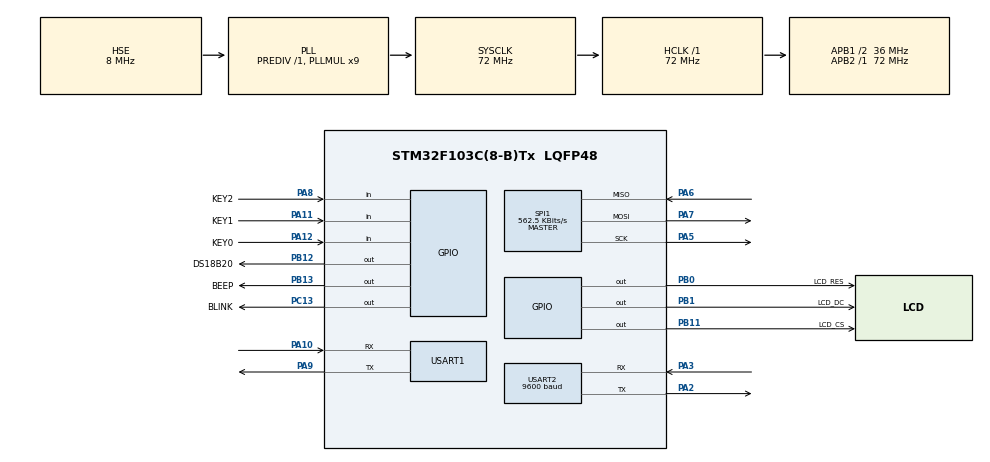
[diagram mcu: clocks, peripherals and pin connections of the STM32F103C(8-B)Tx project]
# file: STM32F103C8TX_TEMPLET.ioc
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Mcu.Family=STM32F1
Mcu.Name=STM32F103C(8-B)Tx
Mcu.Package=LQFP48
NVIC.PriorityGroup=NVIC_PRIORITYGROUP_4
NVIC.SPI1_IRQn=true\:0\:0\:false\:false\:true\:true\:true\:true
NVIC.TIM1_BRK_IRQn=true\:0\:0\:false\:false\:true\:true\:true\:true
NVIC.TIM1_CC_IRQn=true\:0\:0\:false\:false\:true\:true\:true\:true
NVIC.TIM1_TRG_COM_IRQn=true\:0\:0\:false\:false\:true\:true\:true\:true
NVIC.TIM1_UP_IRQn=true\:0\:0\:false\:false\:true\:true\:true\:true
NVIC.USART1_IRQn=true\:0\:0\:false\:false\:true\:true\:true\:true
NVIC.USART2_IRQn=true\:0\:0\:false\:false\:true\:true\:true\:true
PA10.Mode=Asynchronous
PA10.Signal=USART1_RX
PA11.GPIO_Label=KEY1
PA11.GPIO_PuPd=GPIO_PULLUP
PA11.Signal=GPIO_Input
PA12.GPIO_Label=KEY0
PA12.GPIO_PuPd=GPIO_PULLUP
PA12.Signal=GPIO_Input
PA13.Mode=Serial_Wire
PA13.Signal=SYS_JTMS-SWDIO
PA14.Mode=Serial_Wire
PA14.Signal=SYS_JTCK-SWCLK
PA2.Mode=Asynchronous
PA2.Signal=USART2_TX
PA3.Mode=Asynchronous
PA3.Signal=USART2_RX
PA5.Mode=Full_Duplex_Master
PA5.Signal=SPI1_SCK
PA6.Mode=Full_Duplex_Master
PA6.Signal=SPI1_MISO
PA7.Mode=Full_Duplex_Master
PA7.Signal=SPI1_MOSI
PA8.GPIO_Label=KEY2
PA8.GPIO_PuPd=GPIO_PULLUP
PA8.Signal=GPIO_Input
PA9.Mode=Asynchronous
PA9.Signal=USART1_TX
PB0.GPIO_Label=LCD_RES
PB0.Signal=GPIO_Output
PB1.GPIO_Label=LCD_DC
PB1.Signal=GPIO_Output
PB11.GPIO_Label=LCD_CS
PB11.Signal=GPIO_Output
PB12.GPIO_Label=DS18B20
PB12.Signal=GPIO_Output
PB13.GPIO_Label=BEEP
PB13.Signal=GPIO_Output
PC13-TAMPER-RTC.GPIO_Label=BLINK
PC13-TAMPER-RTC.Signal=GPIO_Output
PC14-OSC32_IN.Mode=LSE-External-Oscillator
PC14-OSC32_IN.Signal=RCC_OSC32_IN
PC15-OSC32_OUT.Mode=LSE-External-Oscillator
PC15-OSC32_OUT.Signal=RCC_OSC32_OUT
PD0-OSC_IN.Mode=HSE-External-Oscillator
PD0-OSC_IN.Signal=RCC_OSC_IN
PD1-OSC_OUT.Mode=HSE-External-Oscillator
PD1-OSC_OUT.Signal=RCC_OSC_OUT
ProjectManager.HeapSize=0x200
ProjectManager.StackSize=0x400
ProjectManager.TargetToolchain=MDK-ARM V5.27
RCC.ADCPresc=RCC_ADCPCLK2_DIV6
RCC.AHBFreq_Value=72000000
RCC.APB1CLKDivider=RCC_HCLK_DIV2
RCC.APB1Freq_Value=36000000
RCC.APB1TimFreq_Value=72000000
RCC.APB2Freq_Value=72000000
RCC.APB2TimFreq_Value=72000000
RCC.HCLKFreq_Value=72000000
RCC.PLLMUL=RCC_PLL_MUL9
RCC.PLLSourceVirtual=RCC_PLLSOURCE_HSE
RCC.SYSCLKFreq_VALUE=72000000
RCC.SYSCLKSource=RCC_SYSCLKSOURCE_PLLCLK
RCC.USBFreq_Value=72000000
SPI1.BaudRatePrescaler=SPI_BAUDRATEPRESCALER_128
SPI1.CalculateBaudRate=562.5 KBits/s
SPI1.Direction=SPI_DIRECTION_2LINES
SPI1.Mode=SPI_MODE_MASTER
SPI1.VirtualType=VM_MASTER
TIM1.AutoReloadPreload=TIM_AUTORELOAD_PRELOAD_ENABLE
TIM1.Period=1000-1
TIM1.Prescaler=72-1
USART1.VirtualMode=VM_ASYNC
USART2.BaudRate=9600
USART2.VirtualMode=VM_ASYNC
VP_TIM1_VS_ClockSourceINT.Mode=Internal
board=custom

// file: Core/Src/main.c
/* USER CODE BEGIN Header */
/**
  ******************************************************************************
  * @file           : main.c
  * @brief          : Main program body
  ******************************************************************************
  * @attention
  *
  * <h2><center>&copy; Copyright (c) 2022 STMicroelectronics.
  * All rights reserved.</center></h2>
  *
  * This software component is licensed by ST under BSD 3-Clause license,
  * the "License"; You may not use this file except in compliance with the
  * License. You may obtain a copy of the License at:
  *                        opensource.org/licenses/BSD-3-Clause
  *
  ******************************************************************************
  */
/* USER CODE END Header */
#include "main.h"
#include "spi.h"
#include "tim.h"
#include "usart.h"
#include "gpio.h"

/* USER CODE BEGIN Includes */
#include "lcd_display.h"

// #include "4_4KeyBoard.h"
#include "BPC.h"
#include "ds18b20.h"
//#include "simcom800.h"

/* USER CODE END Includes */

/* USER CODE BEGIN PM */

// static uint8_t min = 0;
// static uint8_t hour = 0;
/* USER CODE END PM */

void SystemClock_Config(void);

/* USER CODE BEGIN 0 */

void key_scan();
void uart2_data_analyze();
void uart2_send_data(uint8_t num);
void alarm_server();
/* USER CODE END 0 */

int main(void)
{
  /* USER CODE BEGIN 1 */
  int8_t ret = -1;
  uint16_t system_tick = 0;
	uint32_t i = 0;
  /* USER CODE END 1 */

  /* MCU Configuration--------------------------------------------------------*/

  /* Reset of all peripherals, Initializes the Flash interface and the Systick. */
  HAL_Init();

  /* Configure the system clock */
  SystemClock_Config();

  /* Initialize all configured peripherals */
  MX_GPIO_Init();
  MX_USART1_UART_Init();
  MX_USART2_UART_Init();
  MX_SPI1_Init();
  MX_TIM1_Init();
  /* USER CODE BEGIN 2 */
	DS18B20_Init();         //温度传感器初始化

	BPC_GPIO_INIT();

	HAL_TIM_Base_Start_IT(&htim1);					///开启定时器

	lcd_init(&display_data);
  lcd_show();

  display_data.time_now.year = 2023;
  display_data.time_now.month = 2;
  display_data.time_now.day = 21;
  display_data.time_now.hour = 11;
  display_data.time_now.minute = 30;
  display_data.time_now.second = 00;
//
//	memset(display_data.post_pin_num, '0', 4);

//	Key_Bord_Init();

	printf("hello \r\n");

/*
  1. BPC 获取时间
  2. 按键休眠 关闭屏幕
  3. LCD 显示 时分秒
  4. 闹钟设置 蜂鸣器
  5. 测量温度显示

*/
 /// display_data.get_time_flag = 1;     //测试标志

  display_data.temp_val = DS18B20_Get_Temp_f();

  HAL_GPIO_WritePin(BEEP_GPIO_Port, BEEP_Pin, 1);

  while(!display_data.get_time_flag)      //没有获取到时间
  {
    BPC_DataHandle();
  }

  // display_data.get_time_flag = 0;
  /* USER CODE END 2 */

  /* Infinite loop */
  /* USER CODE BEGIN WHILE */
  while (1)
  {

		alarm_server();

		BPC_DataHandle();
		key_scan();

    /* USER CODE END WHILE */

    /* USER CODE BEGIN 3 */
    system_tick++;
		if(system_tick % 500 == 0)				///100毫秒处理一次
    {
      display_data.temp_val = DS18B20_Get_Temp_f();
			lcd_show();

    }

    if (system_tick >= 65535)
    {
      system_tick = 0;
    }
    ////HAL_Delay(1);
  }
  /* USER CODE END 3 */
}

void SystemClock_Config(void)
{
  RCC_OscInitTypeDef RCC_OscInitStruct = {0};
  RCC_ClkInitTypeDef RCC_ClkInitStruct = {0};

  /** Initializes the RCC Oscillators according to the specified parameters
  * in the RCC_OscInitTypeDef structure.
  */
  RCC_OscInitStruct.OscillatorType = RCC_OSCILLATORTYPE_HSE;
  RCC_OscInitStruct.HSEState = RCC_HSE_ON;
  RCC_OscInitStruct.HSEPredivValue = RCC_HSE_PREDIV_DIV1;
  RCC_OscInitStruct.HSIState = RCC_HSI_ON;
  RCC_OscInitStruct.PLL.PLLState = RCC_PLL_ON;
  RCC_OscInitStruct.PLL.PLLSource = RCC_PLLSOURCE_HSE;
  RCC_OscInitStruct.PLL.PLLMUL = RCC_PLL_MUL9;
  if (HAL_RCC_OscConfig(&RCC_OscInitStruct) != HAL_OK)
  {
    Error_Handler();
  }
  /** Initializes the CPU, AHB and APB buses clocks
  */
  RCC_ClkInitStruct.ClockType = RCC_CLOCKTYPE_HCLK|RCC_CLOCKTYPE_SYSCLK
                              |RCC_CLOCKTYPE_PCLK1|RCC_CLOCKTYPE_PCLK2;
  RCC_ClkInitStruct.SYSCLKSource = RCC_SYSCLKSOURCE_PLLCLK;
  RCC_ClkInitStruct.AHBCLKDivider = RCC_SYSCLK_DIV1;
  RCC_ClkInitStruct.APB1CLKDivider = RCC_HCLK_DIV2;
  RCC_ClkInitStruct.APB2CLKDivider = RCC_HCLK_DIV1;

  if (HAL_RCC_ClockConfig(&RCC_ClkInitStruct, FLASH_LATENCY_2) != HAL_OK)
  {
    Error_Handler();
  }
}

/* USER CODE BEGIN 4 */
/*用户添加的功能函数*/

void uart2_send_data(uint8_t num)
{
	uint8_t buf[3] = {0xAA, 0x00, 0xff};
	buf[1] = num;

	HAL_UART_Transmit(&huart2, buf, 3, 0xFFFF);
}

void uart2_data_analyze()
{
	if(uart2_rx_data.rx_flag == 1)			//接收到数据
	{
		if((uart2_rx_data.rx_buf[0] == 0xAA) && (uart2_rx_data.rx_buf[2] == 0xFF))		//校验头尾
		{
//			display_data.dis_num = uart2_rx_data.rx_buf[1];
		}
//		uart2_rx_data.rx_flag = 0;
	}
}

void key_scan()
{
#if 1
  if(HAL_GPIO_ReadPin(KEY0_GPIO_Port, KEY0_Pin) == GPIO_PIN_RESET)        //切换页面
  {
    HAL_Delay(5);
    //if(HAL_GPIO_ReadPin(KEY1_GPIO_Port, KEY1_Pin) == GPIO_PIN_RESET)
    {
      while(HAL_GPIO_ReadPin(KEY0_GPIO_Port, KEY0_Pin) == GPIO_PIN_RESET);

      if(display_data.sleep_mode == 1)     //第一页面
      {
        display_data.sleep_mode = 0;
      }
      else if(display_data.dis_index == 1)
      {
        if(display_data.dis_point_index % 4 == 0)     /*小时*/
        {
          display_data.time_set.hour --;
					if(display_data.time_set.hour <= 0)
					{
						display_data.time_set.hour = 0;
					}
        }
        if(display_data.dis_point_index % 4 == 1)     /*分钟*/
        {
          display_data.time_set.minute --;
					if(display_data.time_set.minute < 0)
					{
						display_data.time_set.minute = 0;
					}
        }
        if(display_data.dis_point_index % 4 == 2)     /*秒钟*/
        {
          display_data.time_set.second --;
					if(display_data.time_set.second < 0)
					{
						display_data.time_set.second = 0;
					}
        }
      }

    }
  }

  if(HAL_GPIO_ReadPin(KEY1_GPIO_Port, KEY1_Pin) == GPIO_PIN_RESET)
  {
    HAL_Delay(5);
    //if(HAL_GPIO_ReadPin(KEY3_GPIO_Port, KEY3_Pin) == GPIO_PIN_RESET)
    {
      while(HAL_GPIO_ReadPin(KEY1_GPIO_Port, KEY1_Pin) == GPIO_PIN_RESET);
      if(display_data.dis_index == 0)     //第一页面
      {
        if(display_data.dis_point_index % 4 == 3)     //休眠模式
        {
          display_data.sleep_mode = 1;
        }
      }
      else if(display_data.dis_index == 1)
      {
        if(display_data.dis_point_index % 4 == 0)     /*小时*/
        {
          display_data.time_set.hour ++;
					if(display_data.time_set.hour >= 60)
					{
						display_data.time_set.hour = 60;
					}
        }
        if(display_data.dis_point_index % 4 == 1)     /*分钟*/
        {
          display_data.time_set.minute ++;
					if(display_data.time_set.minute >= 60)
					{
						display_data.time_set.minute = 60;
					}
        }
        if(display_data.dis_point_index % 4 == 2)     /*秒钟*/
        {
          display_data.time_set.second ++;
					if(display_data.time_set.second >= 60)
					{
						display_data.time_set.second = 60;
					}
        }
      }

    }
  }

  if(HAL_GPIO_ReadPin(KEY2_GPIO_Port, KEY2_Pin) == GPIO_PIN_RESET)
  {
    HAL_Delay(5);
    //if(HAL_GPIO_ReadPin(KEY3_GPIO_Port, KEY3_Pin) == GPIO_PIN_RESET)
    {
      while(HAL_GPIO_ReadPin(KEY2_GPIO_Port, KEY2_Pin) == GPIO_PIN_RESET)
      {

        display_data.key0_press_cnt++;
        if(display_data.key0_press_cnt >= 300)
        {
          display_data.key0_press_cnt = 0;

          return ;
        }

      }

      display_data.dis_point_index++;

			//if()
      if(display_data.dis_point_index >= 8)
      {
        display_data.dis_point_index = 0;
      }

      display_data.dis_index = display_data.dis_point_index/4;			//计算显示的页面
    }
  }

#endif
}

/*报警服务*/
void alarm_server()
{
  if(display_data.time_now.hour ==  display_data.time_set.hour && \
    display_data.time_now.minute ==  display_data.time_set.minute && \
    display_data.time_now.second >= display_data.time_set.second  && \
    display_data.time_now.second < display_data.time_set.second + 6 && \
    display_data.dis_index != 1)        //触发报警
  {
      HAL_GPIO_WritePin(BEEP_GPIO_Port, BEEP_Pin, 0);

  }
  else      ///关闭报警
  {
      HAL_GPIO_WritePin(BEEP_GPIO_Port, BEEP_Pin, 1);

  }

}

/* USER CODE END 4 */

void Error_Handler(void)
{
}

/************************ (C) COPYRIGHT STMicroelectronics *****END OF FILE****/
